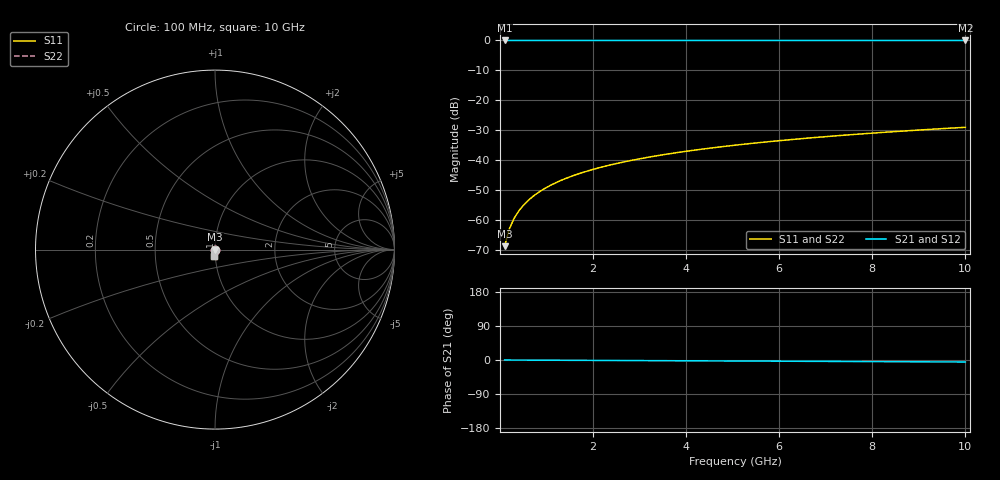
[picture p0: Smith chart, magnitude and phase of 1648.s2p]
# Hz S RI R 50.00
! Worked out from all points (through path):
!   100 points, 100 MHz to 10 GHz, reference 50 ohm
!   highest |S21| = 0.00 dB at 100 MHz (marker M1); lowest = 0.0 dB at 10 GHz (marker M2)
!   lowest |S11| = -68.6 dB at 100 MHz (marker M3), VSWR 1.00, Z = 50 - j0.0353 ohm
!   |S11| at or under -10 dB: start of sweep to end of sweep
!   |S22| runs from -68.6 to -29.0 dB; largest |S21 - S12| = 0
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1e8  0.000112 -0.000353  0.9999 -0.000912  0.9999 -0.000912  0.000112 -0.000353
2e8  0.000111 -0.000705  0.9999 -0.00182  0.9999 -0.00182  0.000111 -0.000705
3e8  0.000109 -0.00106  0.9999 -0.00274  0.9999 -0.00274  0.000109 -0.00106
4e8  0.000107 -0.00141  0.9999 -0.00365  0.9999 -0.00365  0.000107 -0.00141
5e8  0.000104 -0.00176  0.9999 -0.00456  0.9999 -0.00456  0.000104 -0.00176
6e8  0.0001 -0.00212  0.9999 -0.00547  0.9999 -0.00547  0.0001 -0.00212
7e8  9.57e-05 -0.00247  0.9999 -0.00638  0.9999 -0.00638  9.57e-05 -0.00247
8e8  9.06e-05 -0.00282  0.9998 -0.0073  0.9998 -0.0073  9.06e-05 -0.00282
9e8  8.48e-05 -0.00317  0.9998 -0.00821  0.9998 -0.00821  8.48e-05 -0.00317
1.1e9  7.13e-05 -0.00388  0.9998 -0.01  0.9998 -0.01  7.13e-05 -0.00388
1.4e9  4.6e-05 -0.00494  0.9998 -0.0128  0.9998 -0.0128  4.6e-05 -0.00494
1.8e9  3.13e-06 -0.00635  0.9997 -0.0164  0.9997 -0.0164  3.13e-06 -0.00635
2.1e9  -3.59e-05 -0.00741  0.9997 -0.0192  0.9997 -0.0192  -3.59e-05 -0.00741
2.5e9  -9.7e-05 -0.00883  0.9996 -0.0228  0.9996 -0.0228  -9.7e-05 -0.00883
2.9e9  -0.000169 -0.0102  0.9995 -0.0265  0.9995 -0.0265  -0.000169 -0.0102
3.4e9  -0.000273 -0.012  0.9993 -0.0311  0.9993 -0.0311  -0.000273 -0.012
4.2e9  -0.000474 -0.0149  0.999 -0.0384  0.999 -0.0384  -0.000474 -0.0149
5.1e9  -0.00075 -0.0181  0.9986 -0.0467  0.9986 -0.0467  -0.00075 -0.0181
5.9e9  -0.00104 -0.0209  0.9982 -0.054  0.9982 -0.054  -0.00104 -0.0209
6.7e9  -0.00137 -0.0237  0.9977 -0.0614  0.9977 -0.0614  -0.00137 -0.0237
8.4e9  -0.00222 -0.0298  0.9964 -0.0771  0.9964 -0.0771  -0.00222 -0.0298
1e10  -0.0032 -0.0354  0.9949 -0.0919  0.9949 -0.0919  -0.0032 -0.0354
